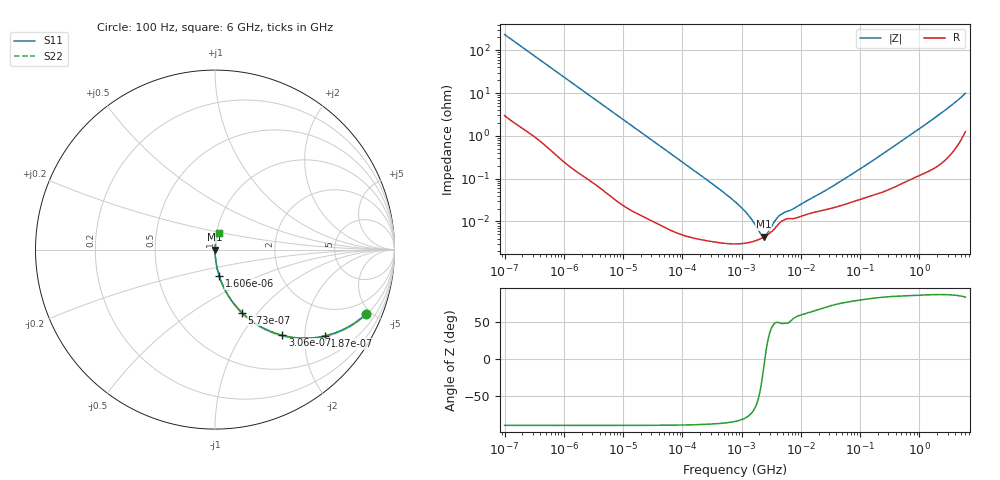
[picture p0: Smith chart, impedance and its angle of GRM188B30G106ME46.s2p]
!Murata Part Number: GRM188B30G106ME46
!These Parameters are Measured in Series Mode Connection
!Data Generated on Mar 30, 2021
!  o--ll--o
!Port1  Port2
!  o------o
!Operation Temp=25[degC], DC Bias Voltage=0[V]
!Freq. Start=100[Hz] Stop=6[GHz] 401[Steps]
# Hz S RI R 50
!Freq.(Hz) S11(Real) S11(Imag) S21(Real) S21(Imag) S12(Real) S12(Imag) S22(Real) S22(Imag)
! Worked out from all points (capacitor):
!   401 points, 100 Hz to 6 GHz, reference 50 ohm
!   read as one part in series: C = 6.76 uF near 109 Hz
!   lowest |Z| = 4.4 mohm at 2.373 MHz (marker M1)
!   series resonance near 2.473 MHz, so ESL is about 610 pH
!   S11 on the Smith chart (normalised r, x): 100 Hz: 1.06, -4.69; 187 Hz: 1.03, -2.52; 306 Hz: 1.02, -1.55; 573 Hz: 1.01, -0.83; 1.606 kHz: 1.00, -0.30; 6 GHz: 1.03, +0.20
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100  0.8432 -0.3573  0.1568 0.3573  0.1568 0.3573  0.8432 -0.3573
131  0.7609 -0.4204  0.2391 0.4204  0.2391 0.4204  0.7609 -0.4204
187  0.612 -0.481  0.388 0.481  0.388 0.481  0.612 -0.481
306  0.3756 -0.4779  0.6244 0.4779  0.6244 0.4779  0.3756 -0.4779
573  0.15 -0.3513  0.85 0.3513  0.85 0.3513  0.15 -0.3513
897  0.0684 -0.2473  0.9316 0.2473  0.9316 0.2473  0.0684 -0.2473
1606  0.0232 -0.1455  0.9768 0.1455  0.9768 0.1455  0.0232 -0.1455
2008  0.0152 -0.1175  0.9848 0.1175  0.9848 0.1175  0.0152 -0.1175
6433  0.00178 -0.0375  0.9982 0.0375  0.9982 0.0375  0.00178 -0.0375
40335  0.000122 -0.00605  0.9999 0.00605  0.9999 0.00605  0.000122 -0.00605
330837  3.4e-05 -0.000734  1 0.000734  1 0.000734  3.4e-05 -0.000734
774597  3e-05 -0.000289  1 0.000289  1 0.000289  3e-05 -0.000289
1585629  3.42e-05 -9.14e-05  1 9.14e-05  1 9.14e-05  3.42e-05 -9.14e-05
2372521  4.32e-05 -8.1e-06  1 8.1e-06  1 8.1e-06  4.32e-05 -8.1e-06
3549919  6.6e-05 7.06e-05  0.9999 -7.06e-05  0.9999 -7.06e-05  6.6e-05 7.06e-05
4856642  0.000103 0.000112  0.9999 -0.000112  0.9999 -0.000112  0.000103 0.000112
7266822  0.000116 0.000155  0.9999 -0.000155  0.9999 -0.000155  0.000116 0.000155
1.555665e7  0.000159 0.000317  0.9998 -0.000317  0.9998 -0.000317  0.000159 0.000317
4.983056e7  0.00024 0.000883  0.9998 -0.000883  0.9998 -0.000883  0.00024 0.000883
3.124326e8  0.000584 0.00482  0.9994 -0.00482  0.9994 -0.00482  0.000584 0.00482
1.873145e9  0.00255 0.027  0.9975 -0.027  0.9975 -0.027  0.00255 0.027
6e9  0.0216 0.0948  0.9784 -0.0948  0.9784 -0.0948  0.0216 0.0948
